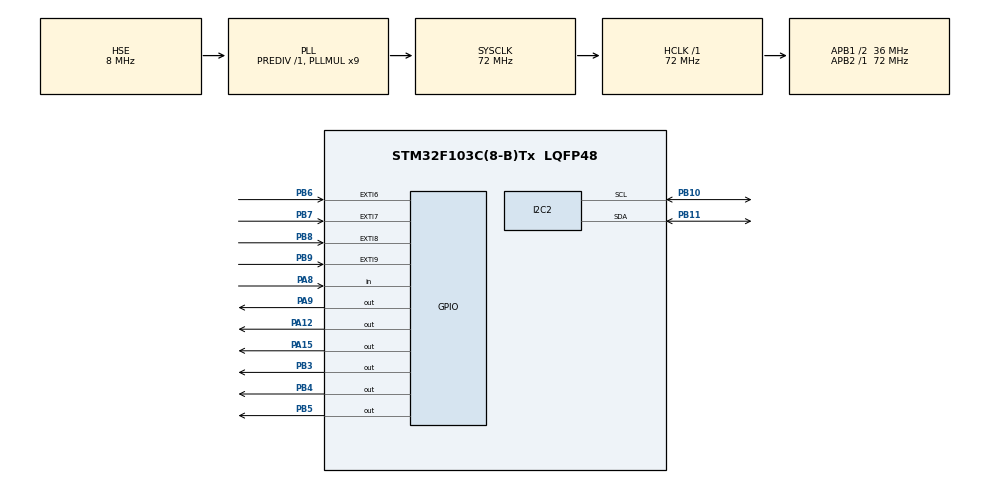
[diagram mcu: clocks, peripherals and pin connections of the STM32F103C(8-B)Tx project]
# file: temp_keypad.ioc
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I2C2.I2C_Mode=I2C_Fast
Mcu.Family=STM32F1
Mcu.Name=STM32F103C(8-B)Tx
Mcu.Package=LQFP48
NVIC.EXTI9_5_IRQn=true\:0\:0\:false\:false\:true\:true\:true\:true
NVIC.PriorityGroup=NVIC_PRIORITYGROUP_4
PA12.Signal=GPIO_Output
PA13.Mode=Serial_Wire
PA13.Signal=SYS_JTMS-SWDIO
PA14.Mode=Serial_Wire
PA14.Signal=SYS_JTCK-SWCLK
PA15.Signal=GPIO_Output
PA8.Signal=GPIO_Input
PA9.Signal=GPIO_Output
PB10.Mode=I2C
PB10.Signal=I2C2_SCL
PB11.Mode=I2C
PB11.Signal=I2C2_SDA
PB3.Signal=GPIO_Output
PB4.Signal=GPIO_Output
PB5.Signal=GPIO_Output
PB6.Signal=GPXTI6
PB7.Signal=GPXTI7
PB8.Signal=GPXTI8
PB9.Signal=GPXTI9
PD0-OSC_IN.Mode=HSE-External-Oscillator
PD0-OSC_IN.Signal=RCC_OSC_IN
PD1-OSC_OUT.Mode=HSE-External-Oscillator
PD1-OSC_OUT.Signal=RCC_OSC_OUT
ProjectManager.HeapSize=0x200
ProjectManager.StackSize=0x400
ProjectManager.TargetToolchain=STM32CubeIDE
RCC.AHBFreq_Value=72000000
RCC.APB1CLKDivider=RCC_HCLK_DIV2
RCC.APB1Freq_Value=36000000
RCC.APB1TimFreq_Value=72000000
RCC.APB2Freq_Value=72000000
RCC.APB2TimFreq_Value=72000000
RCC.HCLKFreq_Value=72000000
RCC.PLLMUL=RCC_PLL_MUL9
RCC.PLLSourceVirtual=RCC_PLLSOURCE_HSE
RCC.SYSCLKFreq_VALUE=72000000
RCC.SYSCLKSource=RCC_SYSCLKSOURCE_PLLCLK
RCC.USBFreq_Value=72000000
TIM1.Prescaler=71
VP_TIM1_VS_ClockSourceINT.Mode=Internal
board=custom

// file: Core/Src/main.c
/* USER CODE BEGIN Header */
/**
  ******************************************************************************
  * @file           : main.c
  * @brief          : Main program body
  ******************************************************************************
  * @attention
  *
  * Copyright (c) 2024 STMicroelectronics.
  * All rights reserved.
  *
  * This software is licensed under terms that can be found in the LICENSE file
  * in the root directory of this software component.
  * If no LICENSE file comes with this software, it is provided AS-IS.
  *
  ******************************************************************************
  */
/* USER CODE END Header */
#include "main.h"

/* USER CODE BEGIN Includes */

#include "ssd1306.h"
#include "fonts.h"
#include "stdio.h"
//#include "bitmap.h"
//#include "horse_anim.h"

/* USER CODE END Includes */

I2C_HandleTypeDef hi2c2;

TIM_HandleTypeDef htim1;

/* USER CODE BEGIN PV */

GPIO_InitTypeDef GPIO_InitStructPrivate = {0};
uint32_t previousMillis = 0;
uint32_t currentMillis = 0;
uint8_t keyPressed = 0;

#define TRIG_PIN GPIO_PIN_9
#define TRIG_PORT GPIOA
#define ECHO_PIN GPIO_PIN_8
#define ECHO_PORT GPIOA

//uint32_t pMillis = 0;
//uint32_t cMillis = 0;

uint32_t Value1 = 0;
uint32_t Value2 = 0;
uint16_t Distance  = 0;  // cm

uint16_t clearFlag  = 0;

/* USER CODE END PV */

void SystemClock_Config(void);
static void MX_GPIO_Init(void);
static void MX_I2C2_Init(void);
static void MX_TIM1_Init(void);
/* USER CODE BEGIN PFP */

void oledPrintChar(int asciiValue);
void DashboardScreen();
void menu();
void EnvDataScreen();

/* USER CODE END PFP */

/* USER CODE BEGIN 0 */

#define DHT11_PORT GPIOA
#define DHT11_PIN GPIO_PIN_12
uint8_t RHI, RHD, TCI, TCD, SUM;
uint32_t pMillis, cMillis;
float tCelsius = 0;
float tFahrenheit = 0;
float RH = 0;
uint8_t TFI = 0;
uint8_t TFD = 0;
char strCopy[15];

void microDelay (uint16_t delay)
{
  __HAL_TIM_SET_COUNTER(&htim1, 0);
  while (__HAL_TIM_GET_COUNTER(&htim1) < delay);
}

uint8_t DHT11_Start (void)
{
  uint8_t Response = 0;
  GPIO_InitTypeDef GPIO_InitStructPrivate = {0};
  GPIO_InitStructPrivate.Pin = DHT11_PIN;
  GPIO_InitStructPrivate.Mode = GPIO_MODE_OUTPUT_PP;
  GPIO_InitStructPrivate.Speed = GPIO_SPEED_FREQ_LOW;
  GPIO_InitStructPrivate.Pull = GPIO_NOPULL;
  HAL_GPIO_Init(DHT11_PORT, &GPIO_InitStructPrivate); // set the pin as output
  HAL_GPIO_WritePin (DHT11_PORT, DHT11_PIN, 0);   // pull the pin low
  HAL_Delay(20);   // wait for 20ms
  HAL_GPIO_WritePin (DHT11_PORT, DHT11_PIN, 1);   // pull the pin high
  microDelay (30);   // wait for 30us
  GPIO_InitStructPrivate.Mode = GPIO_MODE_INPUT;
  GPIO_InitStructPrivate.Pull = GPIO_PULLUP;
  HAL_GPIO_Init(DHT11_PORT, &GPIO_InitStructPrivate); // set the pin as input
  microDelay (40);
  if (!(HAL_GPIO_ReadPin (DHT11_PORT, DHT11_PIN)))
  {
    microDelay (80);
    if ((HAL_GPIO_ReadPin (DHT11_PORT, DHT11_PIN))) Response = 1;
  }
  pMillis = HAL_GetTick();
  cMillis = HAL_GetTick();
  while ((HAL_GPIO_ReadPin (DHT11_PORT, DHT11_PIN)) && pMillis + 2 > cMillis)
  {
    cMillis = HAL_GetTick();
  }
  return Response;
}

uint8_t DHT11_Read (void)
{
  uint8_t a,b;
  for (a=0;a<8;a++)
  {
    pMillis = HAL_GetTick();
    cMillis = HAL_GetTick();
    while (!(HAL_GPIO_ReadPin (DHT11_PORT, DHT11_PIN)) && pMillis + 2 > cMillis)
    {  // wait for the pin to go high
      cMillis = HAL_GetTick();
    }
    microDelay (40);   // wait for 40 us
    if (!(HAL_GPIO_ReadPin (DHT11_PORT, DHT11_PIN)))   // if the pin is low
      b&= ~(1<<(7-a));
    else
      b|= (1<<(7-a));
    pMillis = HAL_GetTick();
    cMillis = HAL_GetTick();
    while ((HAL_GPIO_ReadPin (DHT11_PORT, DHT11_PIN)) && pMillis + 2 > cMillis)
    {  // wait for the pin to go low
      cMillis = HAL_GetTick();
    }
  }
  return b;
}

/* USER CODE END 0 */

int main(void)
{

  /* MCU Configuration--------------------------------------------------------*/

  /* Reset of all peripherals, Initializes the Flash interface and the Systick. */
  HAL_Init();

  /* Configure the system clock */
  SystemClock_Config();

  /* Initialize all configured peripherals */
  MX_GPIO_Init();
  MX_I2C2_Init();
  MX_TIM1_Init();
  /* USER CODE BEGIN 2 */

  HAL_GPIO_WritePin(GPIOA, GPIO_PIN_15, 1);
  HAL_GPIO_WritePin(GPIOB, GPIO_PIN_3, 1);
  HAL_GPIO_WritePin(GPIOB, GPIO_PIN_4, 1);
  HAL_GPIO_WritePin(GPIOB, GPIO_PIN_5, 1);

  SSD1306_Init();

  SSD1306_GotoXY (24,0);
  SSD1306_Puts ("DEM-C", &Font_16x26, 1);
  SSD1306_GotoXY (25, 30);
  SSD1306_Puts ("Environment", &Font_7x10, 1);
  SSD1306_GotoXY (39, 42);
  SSD1306_Puts ("Monitor", &Font_7x10, 1);
  SSD1306_UpdateScreen();
  HAL_Delay(3000);
  SSD1306_Clear();

  HAL_TIM_Base_Start(&htim1);
  HAL_GPIO_WritePin(TRIG_PORT, TRIG_PIN, GPIO_PIN_RESET);  // pull the TRIG pin low
  char snum[5];

  /* USER CODE END 2 */

  /* Infinite loop */
  /* USER CODE BEGIN WHILE */
  while (1)
  {
	  cMillis = HAL_GetTick();

	  HAL_GPIO_WritePin(TRIG_PORT, TRIG_PIN, GPIO_PIN_SET);  // pull the TRIG pin HIGH
	  __HAL_TIM_SET_COUNTER(&htim1, 0);
	  while (__HAL_TIM_GET_COUNTER (&htim1) < 10);  // wait for 10 us
	  HAL_GPIO_WritePin(TRIG_PORT, TRIG_PIN, GPIO_PIN_RESET);  // pull the TRIG pin low

	  pMillis = HAL_GetTick(); // used this to avoid infinite while loop  (for timeout)
	  // wait for the echo pin to go high
	  while (!(HAL_GPIO_ReadPin (ECHO_PORT, ECHO_PIN)) && pMillis + 10 >  HAL_GetTick());
	  Value1 = __HAL_TIM_GET_COUNTER (&htim1);

	  pMillis = HAL_GetTick(); // used this to avoid infinite while loop (for timeout)
	  // wait for the echo pin to go low
	  while ((HAL_GPIO_ReadPin (ECHO_PORT, ECHO_PIN)) && pMillis + 50 > HAL_GetTick());
	  Value2 = __HAL_TIM_GET_COUNTER (&htim1);

	  Distance = (Value2-Value1)* 0.034/2;

	  itoa(Distance, snum, 10);
////	  SSD1306_Clear();
//
////	  SSD1306_GotoXY (84, 0);
////	  SSD1306_Puts (snum, &Font_7x10, 1);
//
////	  SSD1306_UpdateScreen();
//
//
////	  HAL_Delay(100);
//
//	  while (Distance <= 10){
////		  SSD1306_Clear();
////		  SSD1306_GotoXY (84, 0);
////		  SSD1306_Puts (snum, &Font_7x10, 1);
////		  SSD1306_GotoXY (113, 52);
////		  SSD1306_Puts ("ON", &Font_7x10, 1);
////
////		  SSD1306_UpdateScreen();
//		  if(clearFlag == 0){
//		  	SSD1306_Clear();
//		  	clearFlag=1;
//		  }
//		  DashboardScreen();
//	  }
//	  clearFlag=0;
//	  while (!(Distance <= 10)){
//		  if(clearFlag == 0){
//			SSD1306_Clear();
//			clearFlag=1;
//		  }
//		  SSD1306_GotoXY (106, 52);
//		  SSD1306_Puts ("OFF", &Font_7x10, 1);
//
//		  SSD1306_UpdateScreen();
//	  }
//	  clearFlag=0;
//	  SSD1306_UpdateScreen();

	  	  if (Distance >= 10){
//	  		  SSD1306_Clear();
	  		  SSD1306_GotoXY (106, 52);
	  		  SSD1306_Puts ("OFF", &Font_7x10, 1);

	  		  SSD1306_UpdateScreen();
	  	  }else{
//	  		SSD1306_Clear();
	  		DashboardScreen();

	  	  }

//	  DashboardScreen();

    /* USER CODE END WHILE */

  }
}

void SystemClock_Config(void)
{
  RCC_OscInitTypeDef RCC_OscInitStruct = {0};
  RCC_ClkInitTypeDef RCC_ClkInitStruct = {0};

  /** Initializes the RCC Oscillators according to the specified parameters
  * in the RCC_OscInitTypeDef structure.
  */
  RCC_OscInitStruct.OscillatorType = RCC_OSCILLATORTYPE_HSE;
  RCC_OscInitStruct.HSEState = RCC_HSE_ON;
  RCC_OscInitStruct.HSEPredivValue = RCC_HSE_PREDIV_DIV1;
  RCC_OscInitStruct.HSIState = RCC_HSI_ON;
  RCC_OscInitStruct.PLL.PLLState = RCC_PLL_ON;
  RCC_OscInitStruct.PLL.PLLSource = RCC_PLLSOURCE_HSE;
  RCC_OscInitStruct.PLL.PLLMUL = RCC_PLL_MUL9;
  if (HAL_RCC_OscConfig(&RCC_OscInitStruct) != HAL_OK)
  {
    Error_Handler();
  }

  /** Initializes the CPU, AHB and APB buses clocks
  */
  RCC_ClkInitStruct.ClockType = RCC_CLOCKTYPE_HCLK|RCC_CLOCKTYPE_SYSCLK
                              |RCC_CLOCKTYPE_PCLK1|RCC_CLOCKTYPE_PCLK2;
  RCC_ClkInitStruct.SYSCLKSource = RCC_SYSCLKSOURCE_PLLCLK;
  RCC_ClkInitStruct.AHBCLKDivider = RCC_SYSCLK_DIV1;
  RCC_ClkInitStruct.APB1CLKDivider = RCC_HCLK_DIV2;
  RCC_ClkInitStruct.APB2CLKDivider = RCC_HCLK_DIV1;

  if (HAL_RCC_ClockConfig(&RCC_ClkInitStruct, FLASH_LATENCY_2) != HAL_OK)
  {
    Error_Handler();
  }
}

static void MX_I2C2_Init(void)
{

  hi2c2.Instance = I2C2;
  hi2c2.Init.ClockSpeed = 400000;
  hi2c2.Init.DutyCycle = I2C_DUTYCYCLE_2;
  hi2c2.Init.OwnAddress1 = 0;
  hi2c2.Init.AddressingMode = I2C_ADDRESSINGMODE_7BIT;
  hi2c2.Init.DualAddressMode = I2C_DUALADDRESS_DISABLE;
  hi2c2.Init.OwnAddress2 = 0;
  hi2c2.Init.GeneralCallMode = I2C_GENERALCALL_DISABLE;
  hi2c2.Init.NoStretchMode = I2C_NOSTRETCH_DISABLE;
  if (HAL_I2C_Init(&hi2c2) != HAL_OK)
  {
    Error_Handler();
  }

}

static void MX_TIM1_Init(void)
{

  TIM_ClockConfigTypeDef sClockSourceConfig = {0};
  TIM_MasterConfigTypeDef sMasterConfig = {0};

  htim1.Instance = TIM1;
  htim1.Init.Prescaler = 71;
  htim1.Init.CounterMode = TIM_COUNTERMODE_UP;
  htim1.Init.Period = 65535;
  htim1.Init.ClockDivision = TIM_CLOCKDIVISION_DIV1;
  htim1.Init.RepetitionCounter = 0;
  htim1.Init.AutoReloadPreload = TIM_AUTORELOAD_PRELOAD_DISABLE;
  if (HAL_TIM_Base_Init(&htim1) != HAL_OK)
  {
    Error_Handler();
  }
  sClockSourceConfig.ClockSource = TIM_CLOCKSOURCE_INTERNAL;
  if (HAL_TIM_ConfigClockSource(&htim1, &sClockSourceConfig) != HAL_OK)
  {
    Error_Handler();
  }
  sMasterConfig.MasterOutputTrigger = TIM_TRGO_RESET;
  sMasterConfig.MasterSlaveMode = TIM_MASTERSLAVEMODE_DISABLE;
  if (HAL_TIMEx_MasterConfigSynchronization(&htim1, &sMasterConfig) != HAL_OK)
  {
    Error_Handler();
  }

}

static void MX_GPIO_Init(void)
{
  GPIO_InitTypeDef GPIO_InitStruct = {0};

  /* GPIO Ports Clock Enable */
  __HAL_RCC_GPIOD_CLK_ENABLE();
  __HAL_RCC_GPIOB_CLK_ENABLE();
  __HAL_RCC_GPIOA_CLK_ENABLE();

  /*Configure GPIO pin Output Level */
  HAL_GPIO_WritePin(GPIOA, GPIO_PIN_9|GPIO_PIN_12|GPIO_PIN_15, GPIO_PIN_RESET);

  /*Configure GPIO pin Output Level */
  HAL_GPIO_WritePin(GPIOB, GPIO_PIN_3|GPIO_PIN_4|GPIO_PIN_5, GPIO_PIN_RESET);

  /*Configure GPIO pin : PA8 */
  GPIO_InitStruct.Pin = GPIO_PIN_8;
  GPIO_InitStruct.Mode = GPIO_MODE_INPUT;
  GPIO_InitStruct.Pull = GPIO_NOPULL;
  HAL_GPIO_Init(GPIOA, &GPIO_InitStruct);

  /*Configure GPIO pins : PA9 PA12 PA15 */
  GPIO_InitStruct.Pin = GPIO_PIN_9|GPIO_PIN_12|GPIO_PIN_15;
  GPIO_InitStruct.Mode = GPIO_MODE_OUTPUT_PP;
  GPIO_InitStruct.Pull = GPIO_NOPULL;
  GPIO_InitStruct.Speed = GPIO_SPEED_FREQ_LOW;
  HAL_GPIO_Init(GPIOA, &GPIO_InitStruct);

  /*Configure GPIO pins : PB3 PB4 PB5 */
  GPIO_InitStruct.Pin = GPIO_PIN_3|GPIO_PIN_4|GPIO_PIN_5;
  GPIO_InitStruct.Mode = GPIO_MODE_OUTPUT_PP;
  GPIO_InitStruct.Pull = GPIO_NOPULL;
  GPIO_InitStruct.Speed = GPIO_SPEED_FREQ_LOW;
  HAL_GPIO_Init(GPIOB, &GPIO_InitStruct);

  /*Configure GPIO pins : PB6 PB7 PB8 PB9 */
  GPIO_InitStruct.Pin = GPIO_PIN_6|GPIO_PIN_7|GPIO_PIN_8|GPIO_PIN_9;
  GPIO_InitStruct.Mode = GPIO_MODE_IT_RISING;
  GPIO_InitStruct.Pull = GPIO_NOPULL;
  HAL_GPIO_Init(GPIOB, &GPIO_InitStruct);

  /* EXTI interrupt init*/
  HAL_NVIC_SetPriority(EXTI9_5_IRQn, 0, 0);
  HAL_NVIC_EnableIRQ(EXTI9_5_IRQn);

}

/* USER CODE BEGIN 4 */

void HAL_GPIO_EXTI_Callback(uint16_t GPIO_Pin)
{
  currentMillis = HAL_GetTick();
  if (currentMillis - previousMillis > 10) {
    /*Configure GPIO pins : PB6 PB7 PB8 PB9 to GPIO_INPUT*/
    GPIO_InitStructPrivate.Pin = GPIO_PIN_6|GPIO_PIN_7|GPIO_PIN_8|GPIO_PIN_9;
    GPIO_InitStructPrivate.Mode = GPIO_MODE_INPUT;
    GPIO_InitStructPrivate.Pull = GPIO_NOPULL;
    GPIO_InitStructPrivate.Speed = GPIO_SPEED_FREQ_LOW;
    HAL_GPIO_Init(GPIOB, &GPIO_InitStructPrivate);

    HAL_GPIO_WritePin(GPIOA, GPIO_PIN_15, 1);
    HAL_GPIO_WritePin(GPIOB, GPIO_PIN_3, 0);
    HAL_GPIO_WritePin(GPIOB, GPIO_PIN_4, 0);
    HAL_GPIO_WritePin(GPIOB, GPIO_PIN_5, 0);
    if(GPIO_Pin == GPIO_PIN_6 && HAL_GPIO_ReadPin(GPIOB, GPIO_PIN_6))
    {
      keyPressed = 68; //ASCII value of D
//      oledPrintChar(keyPressed);
      SSD1306_Clear();
  	SSD1306_UpdateScreen();

    }
    else if(GPIO_Pin == GPIO_PIN_7 && HAL_GPIO_ReadPin(GPIOB, GPIO_PIN_7))
    {
      keyPressed = 67; //ASCII value of C
//      oledPrintChar(keyPressed);
      SSD1306_Clear();
  	SSD1306_UpdateScreen();

    }
    else if(GPIO_Pin == GPIO_PIN_8 && HAL_GPIO_ReadPin(GPIOB, GPIO_PIN_8))
    {
      keyPressed = 66; //ASCII value of B
//      oledPrintChar(keyPressed);
      SSD1306_Clear();
  	SSD1306_UpdateScreen();

    }
    else if(GPIO_Pin == GPIO_PIN_9 && HAL_GPIO_ReadPin(GPIOB, GPIO_PIN_9))
    {
      keyPressed = 65; //ASCII value of A
//      oledPrintChar(keyPressed);
      SSD1306_Clear();
  	SSD1306_UpdateScreen();

    }

    HAL_GPIO_WritePin(GPIOA, GPIO_PIN_15, 0);
    HAL_GPIO_WritePin(GPIOB, GPIO_PIN_3, 1);
    HAL_GPIO_WritePin(GPIOB, GPIO_PIN_4, 0);
    HAL_GPIO_WritePin(GPIOB, GPIO_PIN_5, 0);
    if(GPIO_Pin == GPIO_PIN_6 && HAL_GPIO_ReadPin(GPIOB, GPIO_PIN_6))
    {
      keyPressed = 35; //ASCII value of #
//      oledPrintChar(keyPressed);
      SSD1306_Clear();
  	SSD1306_UpdateScreen();

    }
    else if(GPIO_Pin == GPIO_PIN_7 && HAL_GPIO_ReadPin(GPIOB, GPIO_PIN_7))
    {
      keyPressed = 57; //ASCII value of 9
//      oledPrintChar(keyPressed);
      SSD1306_Clear();
  	SSD1306_UpdateScreen();

    }
    else if(GPIO_Pin == GPIO_PIN_8 && HAL_GPIO_ReadPin(GPIOB, GPIO_PIN_8))
    {
      keyPressed = 54; //ASCII value of 6
//      oledPrintChar(keyPressed);
      SSD1306_Clear();
  	SSD1306_UpdateScreen();

    }
    else if(GPIO_Pin == GPIO_PIN_9 && HAL_GPIO_ReadPin(GPIOB, GPIO_PIN_9))
    {
      keyPressed = 51; //ASCII value of 3
//      oledPrintChar(keyPressed);
      SSD1306_Clear();
  	SSD1306_UpdateScreen();

    }

    HAL_GPIO_WritePin(GPIOA, GPIO_PIN_15, 0);
    HAL_GPIO_WritePin(GPIOB, GPIO_PIN_3, 0);
    HAL_GPIO_WritePin(GPIOB, GPIO_PIN_4, 1);
    HAL_GPIO_WritePin(GPIOB, GPIO_PIN_5, 0);
    if(GPIO_Pin == GPIO_PIN_6 && HAL_GPIO_ReadPin(GPIOB, GPIO_PIN_6))
    {
      keyPressed = 48; //ASCII value of 0
//      oledPrintChar(keyPressed);
      SSD1306_Clear();
  	SSD1306_UpdateScreen();

    }
    else if(GPIO_Pin == GPIO_PIN_7 && HAL_GPIO_ReadPin(GPIOB, GPIO_PIN_7))
    {
      keyPressed = 56; //ASCII value of 8
//      oledPrintChar(keyPressed);
      SSD1306_Clear();
  	SSD1306_UpdateScreen();

    }
    else if(GPIO_Pin == GPIO_PIN_8 && HAL_GPIO_ReadPin(GPIOB, GPIO_PIN_8))
    {
      keyPressed = 53; //ASCII value of 5
//      oledPrintChar(keyPressed);
      SSD1306_Clear();
  	SSD1306_UpdateScreen();

    }
    else if(GPIO_Pin == GPIO_PIN_9 && HAL_GPIO_ReadPin(GPIOB, GPIO_PIN_9))
    {
      keyPressed = 50; //ASCII value of 2
//      oledPrintChar(keyPressed);
      SSD1306_Clear();
      SSD1306_UpdateScreen();

    }

    HAL_GPIO_WritePin(GPIOA, GPIO_PIN_15, 0);
    HAL_GPIO_WritePin(GPIOB, GPIO_PIN_3, 0);
    HAL_GPIO_WritePin(GPIOB, GPIO_PIN_4, 0);
    HAL_GPIO_WritePin(GPIOB, GPIO_PIN_5, 1);
    if(GPIO_Pin == GPIO_PIN_6 && HAL_GPIO_ReadPin(GPIOB, GPIO_PIN_6))
    {
      keyPressed = 42; //ASCII value of *
//      oledPrintChar(keyPressed);
      SSD1306_Clear();
  	SSD1306_UpdateScreen();

    }
    else if(GPIO_Pin == GPIO_PIN_7 && HAL_GPIO_ReadPin(GPIOB, GPIO_PIN_7))
    {
      keyPressed = 55; //ASCII value of 7
//      oledPrintChar(keyPressed);
      SSD1306_Clear();
  	SSD1306_UpdateScreen();

    }
    else if(GPIO_Pin == GPIO_PIN_8 && HAL_GPIO_ReadPin(GPIOB, GPIO_PIN_8))
    {
      keyPressed = 52; //ASCII value of 4
//      oledPrintChar(keyPressed);
      SSD1306_Clear();
  	SSD1306_UpdateScreen();

    }
    else if(GPIO_Pin == GPIO_PIN_9 && HAL_GPIO_ReadPin(GPIOB, GPIO_PIN_9))
    {
      keyPressed = 49; //ASCII value of 1
//      oledPrintChar(keyPressed);
      SSD1306_Clear();
  	SSD1306_UpdateScreen();

    }

    HAL_GPIO_WritePin(GPIOA, GPIO_PIN_15, 1);
    HAL_GPIO_WritePin(GPIOB, GPIO_PIN_3, 1);
    HAL_GPIO_WritePin(GPIOB, GPIO_PIN_4, 1);
    HAL_GPIO_WritePin(GPIOB, GPIO_PIN_5, 1);
    /*Configure GPIO pins : PB6 PB7 PB8 PB9 back to EXTI*/
    GPIO_InitStructPrivate.Mode = GPIO_MODE_IT_RISING;
    GPIO_InitStructPrivate.Pull = GPIO_PULLDOWN;
    HAL_GPIO_Init(GPIOB, &GPIO_InitStructPrivate);
    previousMillis = currentMillis;
  }
}

void oledPrintChar(int asciiValue){
	char character[2];
	character[0] = (char)asciiValue;
	character[1] = '\0';

	SSD1306_Clear();
	SSD1306_GotoXY (0,0);
	SSD1306_Puts (character, &Font_16x26, 1);
	SSD1306_UpdateScreen();
}

void DashboardScreen(){
	currentMillis = HAL_GetTick();
//	SSD1306_Clear();

	if(DHT11_Start())
	    {
	      RHI = DHT11_Read(); // Relative humidity integral
	      RHD = DHT11_Read(); // Relative humidity decimal
	      TCI = DHT11_Read(); // Celsius integral
	      TCD = DHT11_Read(); // Celsius decimal
	      SUM = DHT11_Read(); // Check sum
	      if (RHI + RHD + TCI + TCD == SUM)
	      {
	        // Can use RHI and TCI for any purposes if whole number only needed
	        tCelsius = (float)TCI + (float)(TCD/10.0);
	        tFahrenheit = tCelsius * 9/5 + 32;
	        RH = (float)RHI + (float)(RHD/10.0);
	        // Can use tCelsius, tFahrenheit and RH for any purposes
	        TFI = tFahrenheit;  // Fahrenheit integral
	        TFD = tFahrenheit*10-TFI*10; // Fahrenheit decimal
	        sprintf(strCopy,"%d.%d C   ", TCI, TCD);
	        SSD1306_GotoXY (29, 0);
	        SSD1306_Puts (strCopy, &Font_11x18, 1);
//	        sprintf(strCopy,"%d.%d F   ", TFI, TFD);
//	        SSD1306_GotoXY (0, 20);
//	        SSD1306_Puts (strCopy, &Font_11x18, 1);
	        sprintf(strCopy,"%d.%d %%  ", RHI, RHD);
	        SSD1306_GotoXY (29, 20);
	        SSD1306_Puts (strCopy, &Font_11x18, 1);
//	        SSD1306_UpdateScreen();
	      }
	    }

//	SSD1306_GotoXY (29,0);
//	SSD1306_Puts ("20.5 C", &Font_11x18, 1);
//	SSD1306_GotoXY (29, 20);
//	SSD1306_Puts ("50.9 %", &Font_11x18, 1);

	SSD1306_DrawLine(0, 45, SSD1306_WIDTH - 1, 45, 1);

	SSD1306_GotoXY (6, 52);
	SSD1306_Puts ("A", &Font_7x10, 1);
	SSD1306_DrawCircle(9, 56, 7, 1);
	SSD1306_GotoXY (20, 52);
	SSD1306_Puts ("MENU", &Font_7x10, 1);

	SSD1306_GotoXY (113, 52);
	SSD1306_Puts ("ON", &Font_7x10, 1);
//	SSD1306_UpdateScreen();

//	while(keyPressed == 65){
//		if(keyPressed == 65){
//			SSD1306_Clear();
//			keyPressed =0;
//		}
//		menu();
//	}
	if(keyPressed == 65 && currentMillis - previousMillis >= 100){
//		SSD1306_Clear();
		menu();
		previousMillis = currentMillis;
	}
//	  HAL_Delay(3000);
//	  SSD1306_Clear();
}

void menu(){
//	SSD1306_Clear();
	while(keyPressed == 65){
		SSD1306_GotoXY (6, 3);
		SSD1306_Puts ("A", &Font_7x10, 1);
		SSD1306_DrawCircle(9, 7, 7, 1);
		SSD1306_GotoXY (20, 3);
		SSD1306_Puts ("ENV DATA", &Font_7x10, 1);

		SSD1306_GotoXY (6, 19);
		SSD1306_Puts ("B", &Font_7x10, 1);
		SSD1306_DrawCircle(9, 23, 7, 1);
		SSD1306_GotoXY (20, 19);
		SSD1306_Puts ("PROXIMITY", &Font_7x10, 1);

		SSD1306_GotoXY (6, 35);
		SSD1306_Puts ("C", &Font_7x10, 1);
		SSD1306_DrawCircle(9, 39, 7, 1);
		SSD1306_GotoXY (20, 35);
		SSD1306_Puts ("PASSWORD", &Font_7x10, 1);

		SSD1306_GotoXY (6, 51);
		SSD1306_Puts ("D", &Font_7x10, 1);
		SSD1306_DrawCircle(9, 55, 7, 1);
		SSD1306_GotoXY (20, 51);
		SSD1306_Puts ("BACK", &Font_7x10, 1);

//		SSD1306_UpdateScreen();

		if(keyPressed == 65 && currentMillis - previousMillis >= 100){
//			SSD1306_Clear();
			EnvDataScreen();
			previousMillis = currentMillis;
		}

		if(keyPressed == 68 && currentMillis - previousMillis >= 100){
//			SSD1306_Clear();
			DashboardScreen();
			previousMillis = currentMillis;
//			keyPressed =0;
		}
	}
//	while(keyPressed == 68){
//		menu();
//	}
}

void EnvDataScreen(){
	SSD1306_GotoXY (6, 3);
	SSD1306_Puts ("A", &Font_7x10, 1);
	SSD1306_DrawCircle(9, 7, 7, 1);
	SSD1306_GotoXY (20, 3);
	SSD1306_Puts ("TEMPERATURE", &Font_7x10, 1);

	SSD1306_GotoXY (6, 19);
	SSD1306_Puts ("B", &Font_7x10, 1);
	SSD1306_DrawCircle(9, 23, 7, 1);
	SSD1306_GotoXY (20, 19);
	SSD1306_Puts ("HUMIDITY", &Font_7x10, 1);

	SSD1306_GotoXY (6, 51);
	SSD1306_Puts ("D", &Font_7x10, 1);
	SSD1306_DrawCircle(9, 55, 7, 1);
	SSD1306_GotoXY (20, 51);
	SSD1306_Puts ("BACK", &Font_7x10, 1);

//	SSD1306_UpdateScreen();

	if(keyPressed == 65){ // A
//		SSD1306_Clear();
		EnvDataScreen();
	}

	if(keyPressed == 68){ // D
//		SSD1306_Clear();
		menu();
//			keyPressed =0;
	}
}

/* USER CODE END 4 */

void Error_Handler(void)
{
  __disable_irq();
  while (1)
  {
  }
}
